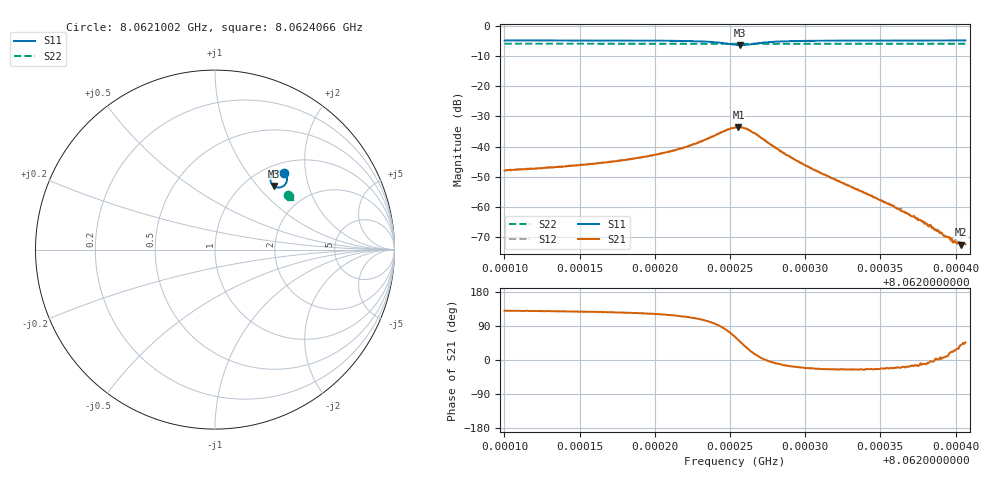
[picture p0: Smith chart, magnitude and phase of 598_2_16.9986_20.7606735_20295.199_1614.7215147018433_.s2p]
#  HZ  S  RI  R  50.00
! Rohde & Schwarz Vector Network Analyzer
! Rohde-Schwarz,ZNB20-2Port,1311601062101988,3.16
! Created: UTC 3/20/2024, 11:18:54 PM
! freq[Hz]  re:S11  im:S11  re:S21  im:S21  re:S12  im:S12  re:S22  im:S22
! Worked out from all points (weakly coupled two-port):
!   401 points, 8.0621002 GHz to 8.0624066 GHz, reference 50 ohm
!   highest |S21| = -33.55 dB at 8.0622557 GHz (marker M1); lowest = -72.5 dB at 8.0624035 GHz (marker M2)
!   lowest |S11| = -6.3 dB at 8.0622564 GHz (marker M3), VSWR 2.86, Z = 66.3 + j61.3 ohm
!   |S11| at or under -10 dB: nowhere
!   |S22| runs from -5.9 to -5.9 dB; largest |S21 - S12| = 0.0013
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8.06210015e9  0.384 0.4291  -0.00259 0.00308  -0.00245 0.0033  0.4066 0.3059
8.06215148e9  0.3895 0.4232  -0.00304 0.00396  -0.00282 0.00418  0.4083 0.3032
8.06217905e9  0.3934 0.4179  -0.00341 0.00489  -0.00315 0.00515  0.4095 0.3016
8.0622028e9  0.3974 0.4098  -0.00389 0.00646  -0.00348 0.00676  0.4103 0.2999
8.06222348e9  0.4008 0.3948  -0.00396 0.00961  -0.00329 0.00996  0.4109 0.2983
8.0622411e9  0.392 0.3645  -0.00093 0.0158  -0.000112 0.0161  0.4106 0.2961
8.06225336e9  0.3441 0.3471  0.01 0.0181  0.0112 0.0177  0.4088 0.2955
8.06225566e9  0.3311 0.3522  0.0128 0.0167  0.0137 0.0162  0.4084 0.2958
8.06225642e9  0.3272 0.3546  0.0136 0.016  0.0145 0.0154  0.4082 0.2958
8.06226102e9  0.3111 0.3772  0.0165 0.0107  0.0173 0.0098  0.4079 0.2969
8.06226562e9  0.3096 0.4011  0.0161 0.0052  0.0168 0.00437  0.4085 0.2978
8.0622863e9  0.3464 0.4372  0.00749 -0.00174  0.00742 -0.00235  0.4111 0.2979
8.06230468e9  0.3631 0.4373  0.00397 -0.0016  0.00391 -0.00189  0.4124 0.2966
8.06235601e9  0.3799 0.4311  0.00101 -0.000423  0.00102 -0.000511  0.415 0.2938
8.06237209e9  0.3824 0.4295  0.000679 -0.000203  0.000685 -0.000226  0.4155 0.2929
8.06238205e9  0.3838 0.4286  0.000472 -6.7e-05  0.000458 -0.000119  0.416 0.2925
8.06239278e9  0.3852 0.4277  0.000332 4.25e-05  0.000314 3.32e-05  0.4162 0.2918
8.06239661e9  0.3857 0.4274  0.000275 9.77e-05  0.000269 6.91e-05  0.4164 0.2916
8.06239737e9  0.3858 0.4273  0.000281 0.000114  0.000265 5.93e-05  0.4163 0.2915
8.06239967e9  0.386 0.4271  0.000247 0.000113  0.000268 0.000102  0.4165 0.2914
8.0624035e9  0.3865 0.4267  0.000183 0.000151  0.000211 0.000151  0.4167 0.2912
8.06240656e9  0.3868 0.4266  0.000168 0.000176  0.000156 0.000161  0.4169 0.2911
